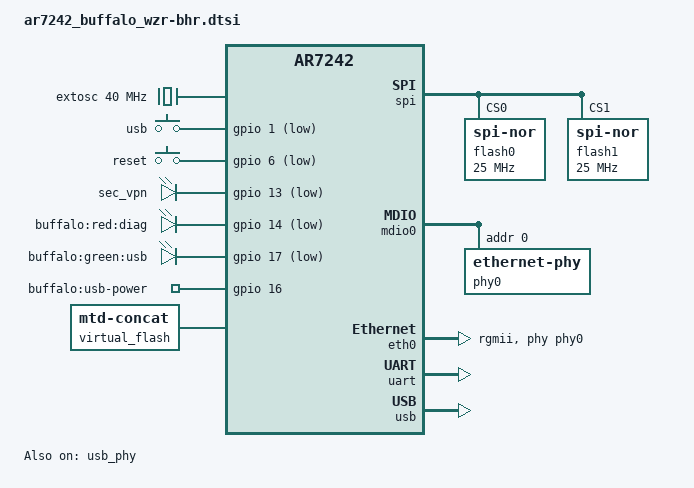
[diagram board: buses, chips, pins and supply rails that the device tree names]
// SPDX-License-Identifier: GPL-2.0-or-later OR MIT
/dts-v1/;

#include <dt-bindings/gpio/gpio.h>
#include <dt-bindings/input/input.h>

#include "ar7242.dtsi"

/ {
	aliases {
		led-boot = &diag;
		led-failsafe = &diag;
		led-upgrade = &diag;
	};

	extosc: ref {
		compatible = "fixed-clock";
		#clock-cells = <0>;
		clock-frequency = <40000000>;
	};

	keys: keys {
		compatible = "gpio-keys-polled";
		poll-interval = <20>;

		usb {
			label = "usb";
			linux,code = <BTN_2>;
			gpios = <&gpio 1 GPIO_ACTIVE_LOW>;
			debounce-interval = <60>;
		};

		reset {
			label = "reset";
			linux,code = <KEY_RESTART>;
			gpios = <&gpio 6 GPIO_ACTIVE_LOW>;
			debounce-interval = <60>;
		};
	};

	leds {
		compatible = "gpio-leds";

		sec_vpn: sec_vpn {
			gpios = <&gpio 13 GPIO_ACTIVE_LOW>;
			default-state = "off";
		};

		diag: diag {
			label = "buffalo:red:diag";
			gpios = <&gpio 14 GPIO_ACTIVE_LOW>;
			default-state = "off";
		};

		usb {
			label = "buffalo:green:usb";
			gpios = <&gpio 17 GPIO_ACTIVE_LOW>;
			default-state = "off";
			trigger-sources = <&hub_port>;
			linux,default-trigger = "usbport";
		};
	};

	gpio-export {
		compatible = "gpio-export";
		#size-cells = <0>;

		gpio_usb_power {
			gpio-export,name = "buffalo:usb-power";
			gpio-export,output = <1>;
			gpios = <&gpio 16 GPIO_ACTIVE_HIGH>;
		};
	};

	virtual_flash {
		compatible = "mtd-concat";
		devices = <&flash0 &flash1>;

		partitions {
			compatible = "fixed-partitions";
			#address-cells = <1>;
			#size-cells = <1>;

			partition@0 {
				reg = <0x0 0x40000>;
				label = "u-boot";
				read-only;
			};

			partition@40000 {
				reg = <0x40000 0x10000>;
				label = "u-boot-env";
			};

			ART: partition@50000 {
				reg = <0x50000 0x10000>;
				label = "ART";
				read-only;
			};

			partition@60000 {
				compatible = "denx,uimage";
				reg = <0x60000 0x1f80000>;
				label = "firmware";
			};

			partition@1fe0000 {
				reg = <0x1fe0000 0x20000>;
				label = "user_property";
				read-only;
			};
		};
	};
};

&spi {
	status = "okay";
	cs-gpios = <0>, <0>;
	num-cs = <2>;

	flash0: flash@0 {
		compatible = "jedec,spi-nor";
		reg = <0>;
		spi-max-frequency = <25000000>;
	};

	flash1: flash@1 {
		compatible = "jedec,spi-nor";
		reg = <1>;
		spi-max-frequency = <25000000>;
	};
};

&mdio0 {
	status = "okay";

	phy-mask = <0x1>;

	phy0: ethernet-phy@0 {
		reg = <0>;
		phy-mode = "rgmii";
	};
};

&eth0 {
	status = "okay";

	phy-mode = "rgmii";
	phy-handle = <&phy0>;
};

&pll {
	clocks = <&extosc>;
};

&uart {
	status = "okay";
};

&usb_phy {
	status = "okay";
};

&usb {
	#address-cells = <1>;
	#size-cells = <0>;
	status = "okay";

	hub_port: port@1 {
		reg = <1>;
		#trigger-source-cells = <0>;
	};
};
